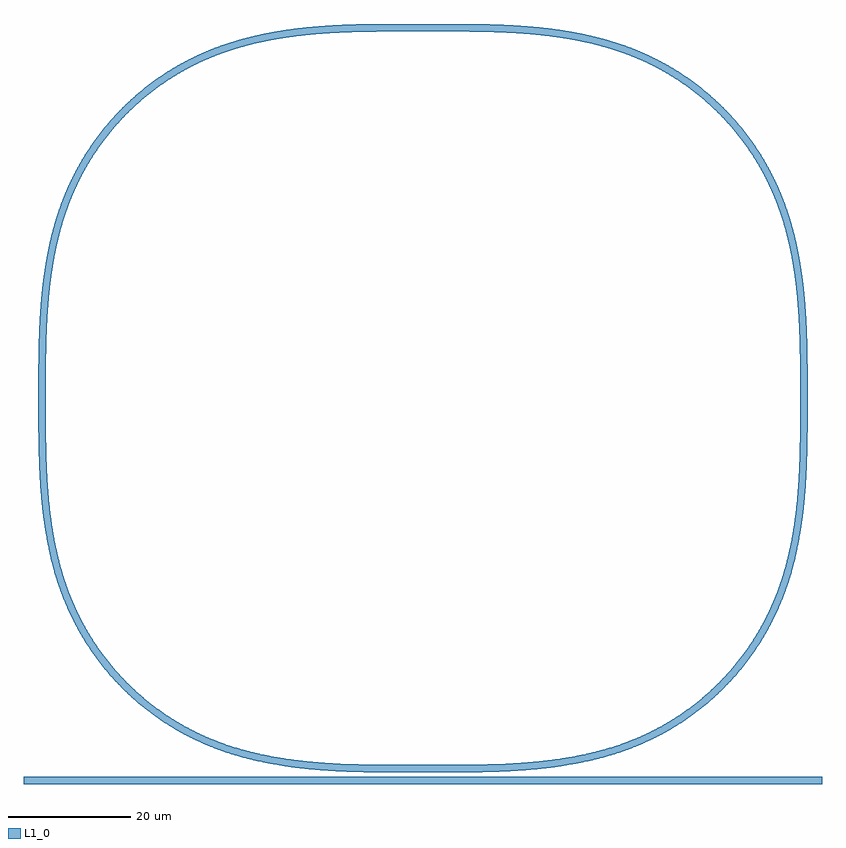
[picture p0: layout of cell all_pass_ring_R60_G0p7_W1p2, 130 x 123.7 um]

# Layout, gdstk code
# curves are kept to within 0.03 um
from math import pi, radians
import gdstk
lib = gdstk.Library(unit=1e-6, precision=1e-09)
def R(c, l, rs):  # rectangles x0, y0, x1, y1
    for r in rs: c.add(gdstk.rectangle(r[:2], r[2:], *l))
def P(c, l, *ps):  # polygons
    for p in ps: c.add(gdstk.Polygon(p, *l))
L1_0 = (1, 0)

coupler_ring_gdsfactoryp = lib.new_cell('coupler_ring_gdsfactorypcomponentspcouplerspcoupler_rin_5409b4c4')
R(coupler_ring_gdsfactoryp, L1_0, [(-67,-0.6,63,0.6)])
P(coupler_ring_gdsfactoryp, L1_0, [(-5.604,1.3),(-10.691,1.335),(-14.445,1.434),(-18.2,1.637),(-21.282,1.908),(-24.489,2.315),(-27.281,2.793),(-30.181,3.433),(-32.788,4.151),(-35.481,5.059),(-38.118,6.138),(-40.445,7.265),(-42.815,8.601),(-44.985,10.006),(-47.386,11.793),(-49.355,13.467),(-51.315,15.354),(-53.241,17.465),(-54.94,19.59),(-56.576,21.932),(-57.919,24.141),(-59.186,26.549),(-60.247,28.906),(-61.206,31.439),(-61.979,33.891),(-62.657,36.507),(-63.232,39.282),(-63.718,42.345),(-64.073,45.421),(-64.342,48.907),(-64.499,52.394),(-64.581,56.415),(-64.6,61.9),(-63.4,61.9),(-63.381,56.428),(-63.291,52.166),(-63.111,48.448),(-62.826,45.008),(-62.398,41.588),(-61.929,38.848),(-61.238,35.752),(-60.484,33.084),(-59.67,30.714),(-58.721,28.393),(-57.632,26.128),(-56.409,23.933),(-55.131,21.925),(-53.579,19.783),(-52.069,17.943),(-50.178,15.909),(-48.255,14.093),(-46.221,12.402),(-43.975,10.769),(-41.853,9.423),(-39.654,8.207),(-37.144,7.02),(-34.815,6.093),(-32.312,5.261),(-29.764,4.566),(-26.792,3.921),(-23.787,3.426),(-20.892,3.074),(-17.452,2.789),(-14.133,2.623),(-10.139,2.527),(-5.603,2.5),(6.805,2.537),(10.398,2.633),(13.452,2.789),(16.892,3.074),(19.525,3.389),(22.402,3.849),(25.25,4.442),(27.932,5.148),(30.691,6.048),(33.144,7.02),(35.654,8.207),(37.967,9.491),(40.193,10.918),(42.221,12.402),(44.354,14.181),(46.271,16.003),(48.242,18.143),(49.9,20.204),(51.425,22.365),(52.875,24.733),(54.165,27.193),(55.238,29.609),(56.157,32.08),(57.003,34.857),(57.718,37.811),(58.297,40.934),(58.77,44.48),(59.066,47.785),(59.277,51.767),(59.378,56.161),(59.4,61.9),(60.6,61.9),(60.578,56.147),(60.481,51.858),(60.317,48.504),(60.006,44.752),(59.585,41.411),(59.055,38.355),(58.368,35.326),(57.629,32.725),(56.649,29.913),(55.65,27.534),(54.315,24.855),(52.942,22.506),(51.423,20.248),(49.678,17.986),(47.88,15.944),(45.657,13.742),(43.492,11.878),(41.319,10.24),(38.815,8.601),(36.445,7.265),(33.87,6.028),(31.354,5.012),(28.529,4.073),(25.788,3.337),(22.883,2.717),(19.822,2.219),(16.613,1.84),(13.396,1.583),(10.042,1.419),(6.289,1.329)])

bend_euler_gdsfactorypco = lib.new_cell('bend_euler_gdsfactorypcomponentspbendspbend_euler_R60_A_467e0263')
P(bend_euler_gdsfactorypco, L1_0, [(0,-0.6),(0,0.6),(5.472,0.619),(9.734,0.709),(13.452,0.889),(16.892,1.174),(20.312,1.602),(23.052,2.071),(26.148,2.762),(28.816,3.516),(31.186,4.33),(33.507,5.279),(35.772,6.368),(37.967,7.591),(39.975,8.869),(42.117,10.421),(43.957,11.931),(45.991,13.822),(47.807,15.745),(49.498,17.779),(50.907,19.698),(52.273,21.807),(53.571,24.111),(54.667,26.372),(55.67,28.814),(56.484,31.184),(57.238,33.852),(57.929,36.948),(58.398,39.688),(58.826,43.108),(59.111,46.548),(59.291,50.266),(59.381,54.528),(59.4,60),(60.6,60),(60.581,54.515),(60.499,50.494),(60.342,47.007),(60.073,43.521),(59.718,40.445),(59.232,37.382),(58.657,34.607),(57.979,31.991),(57.117,29.283),(56.142,26.755),(54.945,24.161),(53.647,21.77),(52.124,19.352),(50.528,17.149),(48.885,15.153),(46.933,13.067),(44.847,11.115),(42.851,9.472),(40.648,7.876),(38.23,6.353),(35.839,5.055),(33.245,3.858),(30.717,2.883),(28.009,2.021),(25.393,1.343),(22.618,0.768),(19.555,0.282),(16.479,-0.073),(12.993,-0.342),(9.506,-0.499),(5.485,-0.581)])

straight_gdsfactorypcomp = lib.new_cell('straight_gdsfactorypcomponentspwaveguidespstraight_L4_N_7efc2f91')
R(straight_gdsfactorypcomp, L1_0, [(0,-0.6,4,0.6)])

c_straight_gdsfactorypcomp = lib.new_cell('straight_gdsfactorypcomponentspwaveguidespstraight_L0p6_36529a3f')
R(c_straight_gdsfactorypcomp, L1_0, [(0,-0.6,0.6,0.6)])

all_pass_ring_r60_g0p7_w = lib.new_cell('all_pass_ring_R60_G0p7_W1p2')
all_pass_ring_r60_g0p7_w.add(gdstk.Reference(coupler_ring_gdsfactoryp, (0,0)))
all_pass_ring_r60_g0p7_w.add(gdstk.Reference(bend_euler_gdsfactorypco, (-4,122.5), rotation=pi))
all_pass_ring_r60_g0p7_w.add(gdstk.Reference(bend_euler_gdsfactorypco, (60,62.5), rotation=pi/2))
all_pass_ring_r60_g0p7_w.add(gdstk.Reference(straight_gdsfactorypcomp, (0,122.5), rotation=pi))
all_pass_ring_r60_g0p7_w.add(gdstk.Reference(c_straight_gdsfactorypcomp, (-64,61.9), rotation=pi/2))
all_pass_ring_r60_g0p7_w.add(gdstk.Reference(c_straight_gdsfactorypcomp, (60,62.5), rotation=3*pi/2))

lib.write_gds('all_pass_ring_R60_G0p7_W1p2.gds')
